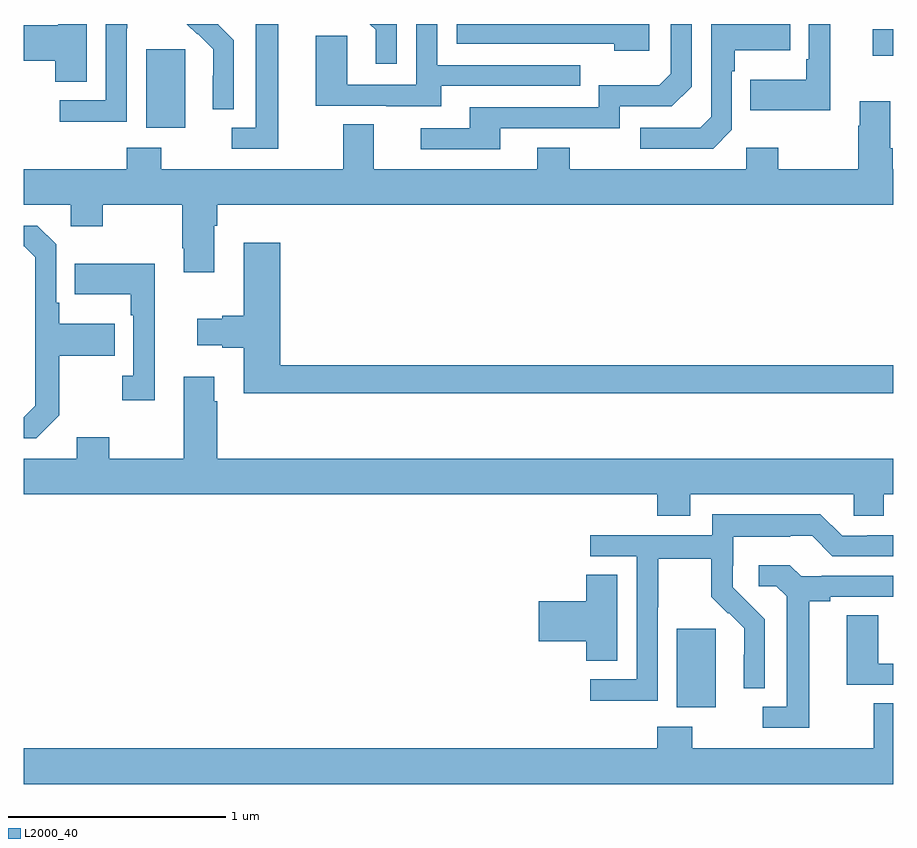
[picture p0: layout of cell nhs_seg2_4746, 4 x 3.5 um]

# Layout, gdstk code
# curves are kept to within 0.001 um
import gdstk
lib = gdstk.Library(unit=1e-6, precision=1e-09)
def R(c, l, rs):  # rectangles x0, y0, x1, y1
    for r in rs: c.add(gdstk.rectangle(r[:2], r[2:], *l))
def P(c, l, *ps):  # polygons
    for p in ps: c.add(gdstk.Polygon(p, *l))
L2000_40 = (2000, 40)

nhs_seg2_4746 = lib.new_cell('nhs_seg2_4746')
R(nhs_seg2_4746, L2000_40, [(372.005,646.658,372.184,647.019), (369.563,649.322,369.742,649.683), (372.906,649.655,373,649.777)])
P(nhs_seg2_4746, L2000_40, [(371.191,649.32),(371.742,649.32),(371.742,649.422),(371.982,649.422),(372.072,649.512),(372.072,649.8),(371.976,649.8),(371.976,649.572),(371.923,649.519),(371.646,649.519),(371.646,649.416),(371.051,649.416),(371.051,649.32),(370.827,649.32),(370.827,649.224),(371.191,649.224)],
  [(372.71,649.8),(372.612,649.8),(372.612,649.639),(372.6,649.639),(372.6,649.543),(372.343,649.543),(372.343,649.403),(372.71,649.403)],
  [(369.289,649.8),(369.158,649.8),(369.158,649.795),(369,649.795),(369,649.63),(369.146,649.63),(369.146,649.534),(369.289,649.534)],
  [(372.258,649.314),(372.258,649.583),(372.271,649.583),(372.271,649.679),(372.527,649.679),(372.527,649.8),(372.162,649.8),(372.162,649.374),(372.111,649.323),(371.835,649.323),(371.835,649.227),(372.171,649.227)],
  [(371.878,649.8),(370.992,649.8),(370.992,649.71),(371.717,649.71),(371.717,649.676),(371.878,649.676)],
  [(369.966,649.726),(369.893,649.799),(369.894,649.8),(369.75,649.8),(369.798,649.752),(369.801,649.755),(369.872,649.685),(369.872,649.562),(369.87,649.562),(369.87,649.408),(369.966,649.408)],
  [(369.474,649.78),(369.477,649.78),(369.477,649.8),(369.378,649.8),(369.378,649.449),(369.165,649.449),(369.165,649.351),(369.474,649.351)],
  [(370.921,649.515),(371.561,649.515),(371.561,649.611),(370.902,649.611),(370.902,649.8),(370.806,649.8),(370.806,649.521),(370.488,649.521),(370.488,649.745),(370.343,649.745),(370.343,649.425),(370.667,649.425),(370.667,649.421),(370.921,649.421)],
  [(370.716,649.8),(370.592,649.8),(370.619,649.773),(370.619,649.617),(370.716,649.617)],
  [(370.171,649.8),(370.067,649.8),(370.067,649.323),(369.957,649.323),(369.957,649.227),(370.171,649.227)],
  [(373,649.132),(372.998,649.132),(372.998,649.228),(372.985,649.228),(372.985,649.444),(372.845,649.444),(372.845,649.331),(372.838,649.331),(372.838,649.132),(372.471,649.132),(372.471,649.231),(372.324,649.231),(372.324,649.132),(371.511,649.132),(371.511,649.231),(371.363,649.231),(371.363,649.132),(370.609,649.132),(370.609,649.34),(370.469,649.34),(370.469,649.132),(369.633,649.132),(369.633,649.231),(369.473,649.231),(369.473,649.132),(369,649.132),(369,648.968),(369.216,648.968),(369.216,648.869),(369.363,648.869),(369.363,648.968),(369.73,648.968),(369.73,648.769),(369.737,648.769),(369.737,648.657),(369.877,648.657),(369.877,648.872),(369.89,648.872),(369.89,648.968),(373,648.968)],
  [(369.163,648.001),(369.163,648.274),(369.419,648.274),(369.419,648.421),(369.163,648.421),(369.163,648.517),(369.15,648.517),(369.15,648.786),(369.063,648.873),(369,648.873),(369,648.777),(369.003,648.777),(369.054,648.726),(369.054,648.045),(369,647.991),(369,647.895),(369.057,647.895)],
  [(373,648.23),(370.181,648.23),(370.181,648.793),(370.013,648.793),(370.013,648.458),(369.914,648.458),(369.914,648.445),(369.798,648.445),(369.798,648.323),(369.914,648.323),(369.914,648.311),(370.013,648.311),(370.013,648.102),(373,648.102)],
  [(369.602,648.697),(369.235,648.697),(369.235,648.557),(369.492,648.557),(369.492,648.461),(369.504,648.461),(369.504,648.182),(369.453,648.182),(369.453,648.069),(369.602,648.069)],
  [(372.067,647.636),(372.819,647.636),(372.819,647.538),(372.957,647.538),(372.957,647.636),(373,647.636),(373,647.8),(369.89,647.8),(369.89,648.065),(369.877,648.065),(369.877,648.178),(369.737,648.178),(369.737,647.8),(369.393,647.8),(369.393,647.899),(369.245,647.899),(369.245,647.8),(369,647.8),(369,647.636),(371.915,647.636),(371.915,647.537),(372.067,647.537)],
  [(371.916,647.116),(371.919,647.116),(371.919,647.34),(372.163,647.34),(372.163,647.165),(372.24,647.088),(372.243,647.091),(372.314,647.021),(372.314,646.898),(372.312,646.898),(372.312,646.744),(372.408,646.744),(372.408,647.062),(372.262,647.21),(372.262,647.307),(372.264,647.307),(372.264,647.441),(372.527,647.441),(372.527,647.445),(372.627,647.445),(372.72,647.352),(373,647.352),(373,647.449),(372.881,647.448),(372.881,647.445),(372.765,647.445),(372.665,647.545),(372.168,647.545),(372.168,647.448),(371.607,647.448),(371.607,647.352),(371.82,647.352),(371.82,646.785),(371.607,646.785),(371.607,646.687),(371.916,646.687)],
  [(372.613,647.144),(372.709,647.144),(372.709,647.166),(373,647.166),(373,647.262),(372.67,647.262),(372.67,647.259),(372.576,647.259),(372.524,647.311),(372.381,647.311),(372.381,647.214),(372.462,647.214),(372.509,647.167),(372.509,646.659),(372.399,646.659),(372.399,646.563),(372.613,646.563)],
  [(371.731,647.267),(371.588,647.267),(371.588,647.144),(371.37,647.144),(371.37,646.961),(371.588,646.961),(371.588,646.87),(371.731,646.87)],
  [(373,646.857),(372.93,646.857),(372.93,647.081),(372.785,647.081),(372.785,646.761),(373,646.761)],
  [(373,646.676),(372.911,646.676),(372.911,646.468),(372.075,646.468),(372.075,646.567),(371.915,646.567),(371.915,646.468),(369,646.468),(369,646.304),(373,646.304)])

lib.write_gds('nhs_seg2_4746.gds')
